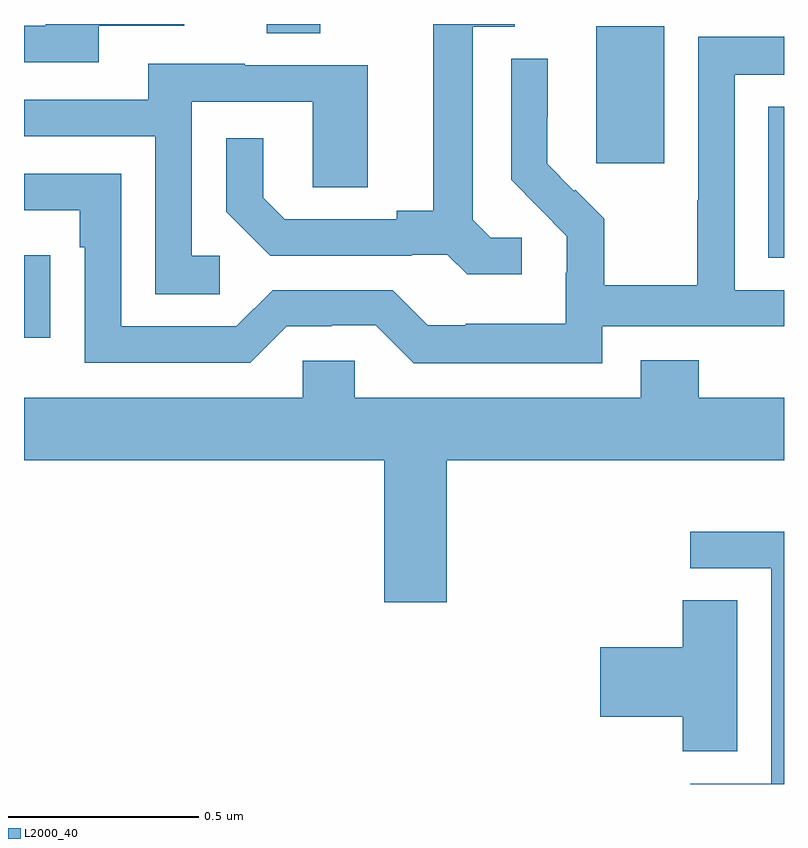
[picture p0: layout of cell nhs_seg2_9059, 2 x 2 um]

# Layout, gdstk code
import gdstk
lib = gdstk.Library(unit=1e-6, precision=1e-09)
def R(c, l, rs):  # rectangles x0, y0, x1, y1
    for r in rs: c.add(gdstk.rectangle(r[:2], r[2:], *l))
def P(c, l, *ps):  # polygons
    for p in ps: c.add(gdstk.Polygon(p, *l))
L2000_40 = (2000, 40)

nhs_seg2_9059 = lib.new_cell('nhs_seg2_9059')
R(nhs_seg2_9059, L2000_40, [(224,631.974,224.069,632.192), (225.959,632.185,226,632.582), (225.506,632.433,225.685,632.794), (224.639,632.776,224.779,632.8)])
P(nhs_seg2_9059, L2000_40, [(224.197,632.796),(224.422,632.796),(224.422,632.8),(224.057,632.8),(224.057,632.796),(224,632.796),(224,632.7),(224.197,632.7)],
  [(225.31,632.238),(225.228,632.238),(225.181,632.285),(225.181,632.793),(225.292,632.793),(225.292,632.8),(225.077,632.8),(225.077,632.309),(224.981,632.309),(224.981,632.286),(224.686,632.286),(224.629,632.343),(224.629,632.5),(224.532,632.5),(224.532,632.306),(224.648,632.19),(225.02,632.19),(225.02,632.193),(225.114,632.193),(225.166,632.141),(225.31,632.141)],
  [(225.522,632.004),(226,632.004),(226,632.1),(225.87,632.1),(225.87,632.667),(226,632.667),(226,632.766),(225.774,632.766),(225.774,632.336),(225.772,632.336),(225.772,632.113),(225.527,632.113),(225.527,632.287),(225.45,632.364),(225.447,632.361),(225.377,632.432),(225.377,632.554),(225.378,632.554),(225.378,632.708),(225.282,632.708),(225.282,632.39),(225.355,632.317),(225.354,632.316),(225.428,632.242),(225.428,632.145),(225.426,632.145),(225.426,632.011),(225.163,632.011),(225.163,632.007),(225.063,632.007),(224.97,632.1),(224.655,632.1),(224.559,632.004),(224.256,632.004),(224.256,632.406),(224,632.406),(224,632.31),(224.147,632.31),(224.147,632.213),(224.16,632.213),(224.16,631.908),(224.595,631.908),(224.691,632.004),(224.81,632.004),(224.81,632.007),(224.925,632.007),(225.025,631.907),(225.522,631.907)],
  [(224.515,632.19),(224.442,632.19),(224.442,632.595),(224.76,632.595),(224.76,632.371),(224.905,632.371),(224.905,632.691),(224.581,632.691),(224.581,632.695),(224.327,632.695),(224.327,632.601),(224,632.601),(224,632.505),(224.346,632.505),(224.346,632.089),(224.515,632.089)],
  [(225.112,631.652),(226,631.652),(226,631.816),(225.776,631.816),(225.776,631.915),(225.623,631.915),(225.623,631.816),(224.871,631.816),(224.871,631.914),(224.733,631.914),(224.733,631.816),(224,631.816),(224,631.652),(224.948,631.652),(224.948,631.278),(225.112,631.278)],
  [(226,631.464),(225.753,631.464),(225.753,631.368),(225.966,631.368),(225.966,630.801),(225.753,630.801),(225.753,630.8),(226,630.8)],
  [(225.877,631.283),(225.734,631.283),(225.734,631.16),(225.516,631.16),(225.516,630.977),(225.734,630.977),(225.734,630.886),(225.877,630.886)])

lib.write_gds('nhs_seg2_9059.gds')
